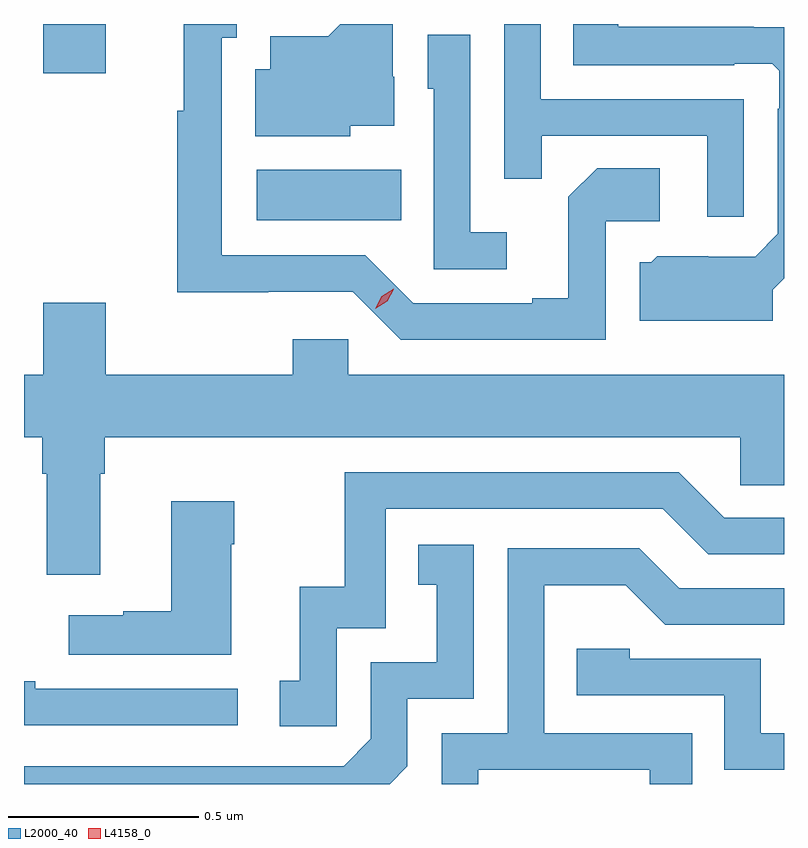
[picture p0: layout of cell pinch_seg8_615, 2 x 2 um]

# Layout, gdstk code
import gdstk
lib = gdstk.Library(unit=1e-6, precision=1e-09)
def R(c, l, rs):  # rectangles x0, y0, x1, y1
    for r in rs: c.add(gdstk.rectangle(r[:2], r[2:], *l))
def P(c, l, *ps):  # polygons
    for p in ps: c.add(gdstk.Polygon(p, *l))
L2000_40 = (2000, 40)
L4158_0 = (4158, 0)

pinch_seg8_615 = lib.new_cell('pinch_seg8_615')
R(pinch_seg8_615, L2000_40, [(129.606,1099.754,129.986,1099.888), (129.044,1100.142,129.208,1100.271)])
P(pinch_seg8_615, L2000_40, [(129.852,1100.003),(129.967,1100.003),(129.967,1100.132),(129.963,1100.132),(129.963,1100.271),(129.825,1100.271),(129.793,1100.239),(129.641,1100.239),(129.641,1100.152),(129.602,1100.152),(129.602,1099.976),(129.852,1099.976)],
  [(130.887,1100.073),(130.353,1100.073),(130.353,1100.271),(130.257,1100.271),(130.257,1099.864),(130.355,1099.864),(130.355,1099.977),(130.791,1099.977),(130.791,1099.764),(130.887,1099.764)],
  [(130.524,1099.752),(130.666,1099.752),(130.666,1099.892),(130.501,1099.892),(130.425,1099.816),(130.425,1099.549),(130.331,1099.549),(130.331,1099.536),(130.017,1099.536),(129.891,1099.662),(129.514,1099.662),(129.514,1100.235),(129.553,1100.235),(129.553,1100.271),(129.413,1100.271),(129.413,1100.043),(129.396,1100.043),(129.396,1099.565),(129.636,1099.565),(129.636,1099.566),(129.858,1099.566),(129.984,1099.44),(130.524,1099.44)],
  [(130.963,1099.572),(130.993,1099.602),(130.993,1100.263),(130.913,1100.263),(130.913,1100.264),(130.557,1100.264),(130.557,1100.271),(130.438,1100.271),(130.438,1100.163),(130.862,1100.163),(130.862,1100.166),(130.962,1100.166),(130.98,1100.148),(130.98,1100.048),(130.977,1100.048),(130.977,1099.719),(130.917,1099.659),(130.794,1099.659),(130.794,1099.66),(130.66,1099.66),(130.644,1099.644),(130.613,1099.644),(130.613,1099.49),(130.963,1099.49)],
  [(130.264,1099.723),(130.167,1099.723),(130.167,1100.243),(130.056,1100.243),(130.056,1100.1),(130.071,1100.1),(130.071,1099.626),(130.264,1099.626)],
  [(129.193,1099.088),(129.206,1099.088),(129.206,1099.184),(130.878,1099.184),(130.878,1099.057),(130.993,1099.057),(130.993,1099.348),(129.846,1099.348),(129.846,1099.441),(129.7,1099.441),(129.7,1099.348),(129.208,1099.348),(129.208,1099.537),(129.044,1099.537),(129.044,1099.348),(128.993,1099.348),(128.993,1099.184),(129.041,1099.184),(129.041,1099.088),(129.053,1099.088),(129.053,1098.822),(129.193,1098.822)],
  [(129.816,1098.681),(129.945,1098.681),(129.945,1098.996),(130.674,1098.996),(130.794,1098.876),(130.993,1098.876),(130.993,1098.972),(130.836,1098.972),(130.716,1099.092),(129.837,1099.092),(129.837,1098.79),(129.719,1098.79),(129.719,1098.543),(129.666,1098.543),(129.666,1098.423),(129.816,1098.423)],
  [(129.538,1098.902),(129.546,1098.902),(129.546,1099.015),(129.38,1099.015),(129.38,1098.725),(129.254,1098.725),(129.254,1098.715),(129.111,1098.715),(129.111,1098.611),(129.538,1098.611)],
  [(130.002,1098.318),(130.002,1098.495),(130.176,1098.495),(130.176,1098.901),(130.03,1098.901),(130.03,1098.795),(130.079,1098.795),(130.079,1098.591),(129.906,1098.591),(129.906,1098.39),(129.834,1098.318),(128.993,1098.318),(128.993,1098.271),(129.955,1098.271)],
  [(130.189,1098.309),(130.64,1098.309),(130.64,1098.271),(130.751,1098.271),(130.751,1098.405),(130.362,1098.405),(130.362,1098.794),(130.576,1098.794),(130.68,1098.69),(130.993,1098.69),(130.993,1098.786),(130.717,1098.786),(130.612,1098.891),(130.266,1098.891),(130.266,1098.405),(130.092,1098.405),(130.092,1098.271),(130.189,1098.271)],
  [(130.993,1098.405),(130.932,1098.405),(130.932,1098.6),(130.587,1098.6),(130.587,1098.627),(130.447,1098.627),(130.447,1098.504),(130.836,1098.504),(130.836,1098.309),(130.993,1098.309)],
  [(129.556,1098.522),(129.023,1098.522),(129.023,1098.542),(128.993,1098.542),(128.993,1098.426),(129.556,1098.426)])
P(pinch_seg8_615, L4158_0, [(129.917,1099.522),(129.917,1099.522),(129.934,1099.555),(129.966,1099.574),(129.966,1099.574),(129.966,1099.573),(129.949,1099.541),(129.917,1099.522)])

lib.write_gds('pinch_seg8_615.gds')
